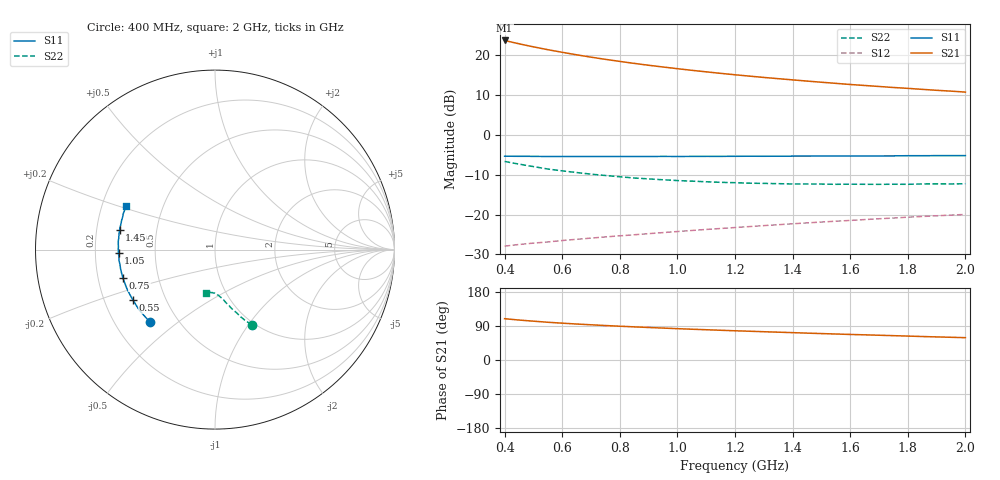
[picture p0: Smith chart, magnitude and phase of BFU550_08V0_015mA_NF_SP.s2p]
! Filename:  P:\Prog\Test\Noise\ATS_data\Testdata_Net\06 Compressed Noise after Statistics\BFU550_APG2013_43_D05_08p0V_015mA_NF_CM01_D.sf
! Date/Time: Fri 26/Apr/2013 13:07:23
! BFU550_APG2013_43_D05_08p0V_1to35mA_NF_CM01_Bias6_R.sf
! Noise Parameter Data File
! BFU550_APG2013_43_D05_08p0V_1to35mA_NF_CM01
! Date/time: Thu Apr 25 17:34:01 2013
! VAR V_out= 8.000000
! VAR I_out= 14.995000
! VAR V_in= 0.814100
! VAR I_in= 0.157800
! Device data file deembeded for feedlines and parallel
! Original file: \06 Compressed Noise after Statistics\BFU550_APG2013_43_D05_08p0V_015mA_NF_CM01_R.sf
! Feed-files: PR047V01_250413_Feed1.s2p, PR047V01_250413_Feed2.s2p
! Parallel-file: PR047V01_250413_Par.s2p
# MHz S MA R 50
!  Freq-MHz  S11-mag  S11-arg  S21-mag  S21-arg  S12-mag  S12-arg  S22-mag  S22-arg
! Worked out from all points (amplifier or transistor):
!   37 points, 400 MHz to 2 GHz, reference 50 ohm
!   highest |S21| = 23.8 dB at 400 MHz (marker M1)
!   |S21| within 3 dB of that: start of sweep to 602 MHz
!   unconditionally stable (mu >= 1): 1.532 GHz to end of sweep
!   at 500 MHz: K = 0.60, MSG = 24.7 dB, |S12| = -27.2 dB
!   at 1.1 GHz: K = 0.91, MSG = 19.8 dB, |S12| = -23.7 dB
!   at 2 GHz: K = 1.05, MAG = 14.0 dB, |S12| = -20.0 dB
!   lowest NFmin = 0.87 dB at 440 MHz
!   S11 on the Smith chart (normalised r, x): 400 MHz: 0.35, -0.40; 550 MHz: 0.32, -0.25; 750 MHz: 0.31, -0.14; 1.05 GHz: 0.30, -0.02; 1.45 GHz: 0.30, +0.09; 2 GHz: 0.30, +0.21
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400  0.5415 -131.6  15.42 109.0  0.04003 48.1  0.4656 -63.9
433  0.5399 -135.9  14.46 106.6  0.04132 47.8  0.4413 -65.8
460  0.5394 -139.2  13.76 104.9  0.04236 47.6  0.4244 -67.2
500  0.5385 -143.5  12.82 102.5  0.04374 47.5  0.4006 -69.1
550  0.5365 -148.5  11.81 99.6  0.04524 47.7  0.3734 -71.0
600  0.5365 -152.7  10.95 97.2  0.04713 47.9  0.3542 -72.9
650  0.5369 -156.5  10.18 94.9  0.04885 48.1  0.3371 -74.6
700  0.5361 -159.7  9.512 92.9  0.05055 48.5  0.322 -75.9
750  0.5371 -163.0  8.929 91.0  0.05231 48.9  0.3096 -77.4
800  0.5367 -165.7  8.411 89.1  0.05399 49.2  0.2984 -78.7
850  0.537 -168.4  7.943 87.4  0.05569 49.7  0.2878 -79.8
900  0.5358 -171.1  7.522 85.8  0.0575 50.2  0.2806 -81.0
950  0.5382 -173.2  7.156 84.2  0.05932 50.6  0.2736 -82.2
1050  0.538 -177.8  6.5 81.2  0.06301 51.3  0.2629 -84.2
1150  0.5386 178.5  5.954 78.5  0.0668 51.9  0.254 -86.1
1200  0.5396 176.5  5.714 77.1  0.06864 52.1  0.2514 -87.1
1300  0.5402 173.2  5.29 74.6  0.07256 52.6  0.2463 -88.9
1450  0.5424 168.2  4.76 70.9  0.07849 53.1  0.2422 -91.6
1500  0.5439 166.8  4.603 69.7  0.08049 53.1  0.2416 -92.6
1600  0.544 163.7  4.313 67.4  0.08431 53.2  0.2407 -94.3
1750  0.5462 159.7  3.953 64.2  0.09037 53.3  0.2404 -97.1
2000  0.5509 153.6  3.462 58.9  0.1002 53.2  0.244 -101.4
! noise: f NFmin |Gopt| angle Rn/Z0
400  0.9336  0.163  174.6  0.0844
460  0.8743  0.2374  -177.6  0.0645
600  0.876  0.2065  -179.1  0.0728
800  0.943  0.2256  -178.2  0.0709
1000  0.966  0.2562  -177.4  0.065
1200  1.017  0.2601  -173.6  0.0689
1400  1.034  0.2746  -171.8  0.0697
1600  1.063  0.298  -169.6  0.0698
1800  1.041  0.3373  -168.9  0.0619
2000  1.136  0.3382  -163.7  0.0707
